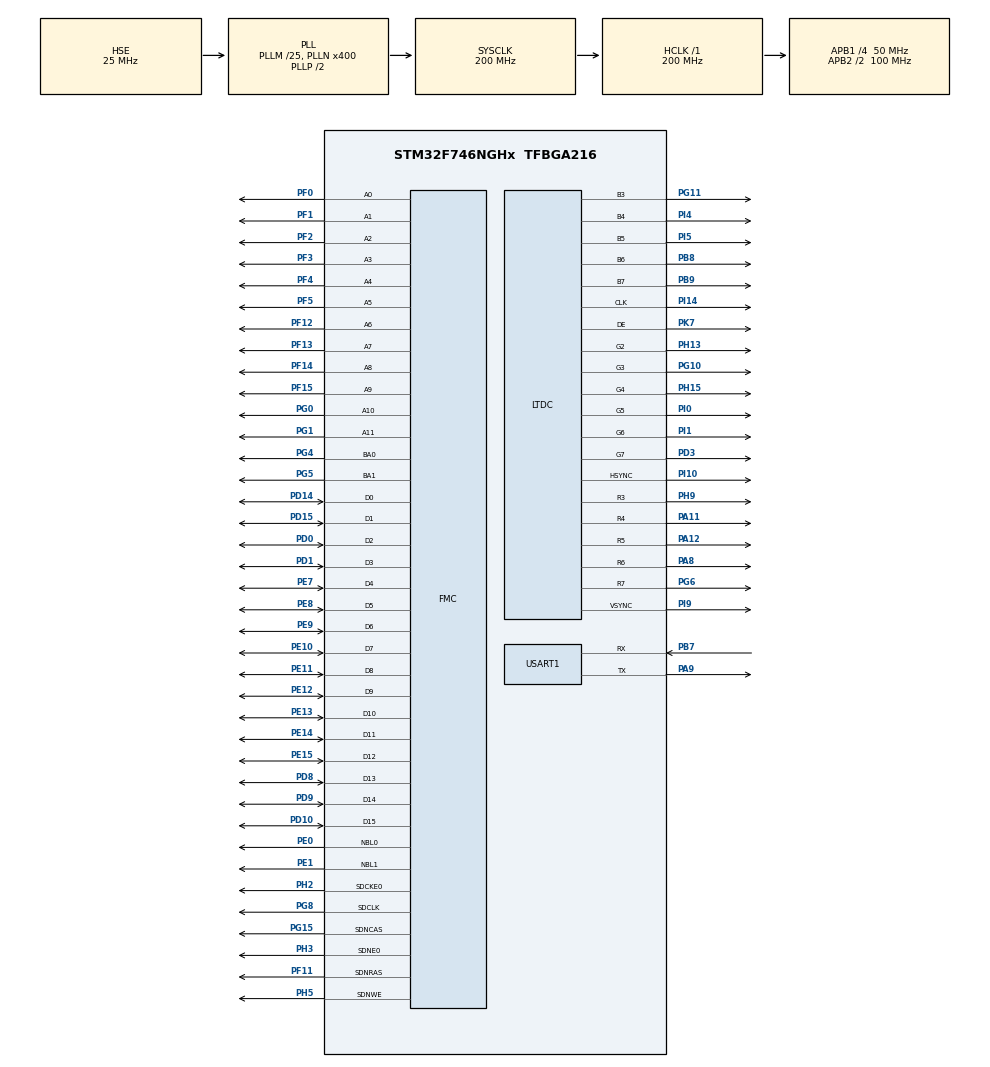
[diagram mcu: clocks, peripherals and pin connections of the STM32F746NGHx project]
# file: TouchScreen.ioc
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DMA2D.ColorMode=DMA2D_OUTPUT_RGB565
LTDC.Layers=0
Mcu.Family=STM32F7
Mcu.Name=STM32F746NGHx
Mcu.Package=TFBGA216
NVIC.LTDC_IRQn=true\:0\:0\:false\:false\:true\:true\:true\:true
NVIC.PriorityGroup=NVIC_PRIORITYGROUP_4
PA11.Mode=RGB565
PA11.Signal=LTDC_R4
PA12.Mode=RGB565
PA12.Signal=LTDC_R5
PA13.Mode=Serial_Wire
PA13.Signal=SYS_JTMS-SWDIO
PA14.Mode=Serial_Wire
PA14.Signal=SYS_JTCK-SWCLK
PA8.Mode=RGB565
PA8.Signal=LTDC_R6
PA9.Mode=Asynchronous
PA9.Signal=USART1_TX
PB7.Mode=Asynchronous
PB7.Signal=USART1_RX
PB8.Mode=RGB565
PB8.Signal=LTDC_B6
PB9.Mode=RGB565
PB9.Signal=LTDC_B7
PC14/OSC32_IN.Mode=LSE-External-Oscillator
PC14/OSC32_IN.Signal=RCC_OSC32_IN
PC15/OSC32_OUT.Mode=LSE-External-Oscillator
PC15/OSC32_OUT.Signal=RCC_OSC32_OUT
PD0.Signal=FMC_D2_DA2
PD1.Signal=FMC_D3_DA3
PD10.Signal=FMC_D15_DA15
PD14.Signal=FMC_D0_DA0
PD15.Signal=FMC_D1_DA1
PD3.Mode=RGB565
PD3.Signal=LTDC_G7
PD8.Signal=FMC_D13_DA13
PD9.Signal=FMC_D14_DA14
PE0.Signal=FMC_NBL0
PE1.Signal=FMC_NBL1
PE10.Signal=FMC_D7_DA7
PE11.Signal=FMC_D8_DA8
PE12.Signal=FMC_D9_DA9
PE13.Signal=FMC_D10_DA10
PE14.Signal=FMC_D11_DA11
PE15.Signal=FMC_D12_DA12
PE7.Signal=FMC_D4_DA4
PE8.Signal=FMC_D5_DA5
PE9.Signal=FMC_D6_DA6
PF0.Signal=FMC_A0
PF1.Signal=FMC_A1
PF11.Signal=FMC_SDNRAS
PF12.Signal=FMC_A6
PF13.Signal=FMC_A7
PF14.Signal=FMC_A8
PF15.Signal=FMC_A9
PF2.Signal=FMC_A2
PF3.Signal=FMC_A3
PF4.Signal=FMC_A4
PF5.Signal=FMC_A5
PG0.Signal=FMC_A10
PG1.Signal=FMC_A11
PG10.Mode=RGB565
PG10.Signal=LTDC_G3
PG11.Mode=RGB565
PG11.Signal=LTDC_B3
PG15.Signal=FMC_SDNCAS
PG4.Signal=FMC_A14_BA0
PG5.Signal=FMC_A15_BA1
PG6.Mode=RGB565
PG6.Signal=LTDC_R7
PG8.Signal=FMC_SDCLK
PH0/OSC_IN.Mode=HSE-External-Oscillator
PH0/OSC_IN.Signal=RCC_OSC_IN
PH1/OSC_OUT.Mode=HSE-External-Oscillator
PH1/OSC_OUT.Signal=RCC_OSC_OUT
PH13.Mode=RGB565
PH13.Signal=LTDC_G2
PH15.Mode=RGB565
PH15.Signal=LTDC_G4
PH2.Mode=SdramChipSelect1_1
PH2.Signal=FMC_SDCKE0
PH3.Mode=SdramChipSelect1_1
PH3.Signal=FMC_SDNE0
PH5.Signal=FMC_SDNWE
PH9.Mode=RGB565
PH9.Signal=LTDC_R3
PI0.Mode=RGB565
PI0.Signal=LTDC_G5
PI1.Mode=RGB565
PI1.Signal=LTDC_G6
PI10.Mode=RGB565
PI10.Signal=LTDC_HSYNC
PI14.Mode=RGB565
PI14.Signal=LTDC_CLK
PI4.Mode=RGB565
PI4.Signal=LTDC_B4
PI5.Mode=RGB565
PI5.Signal=LTDC_B5
PI9.Mode=RGB565
PI9.Signal=LTDC_VSYNC
PK7.Mode=RGB565
PK7.Signal=LTDC_DE
ProjectManager.HeapSize=0x200
ProjectManager.StackSize=0x400
ProjectManager.TargetToolchain=CMake
RCC.AHBFreq_Value=200000000
RCC.APB1CLKDivider=RCC_HCLK_DIV4
RCC.APB1Freq_Value=50000000
RCC.APB1TimFreq_Value=100000000
RCC.APB2CLKDivider=RCC_HCLK_DIV2
RCC.APB2Freq_Value=100000000
RCC.APB2TimFreq_Value=200000000
RCC.CortexFreq_Value=200000000
RCC.HCLKFreq_Value=200000000
RCC.HSE_VALUE=25000000
RCC.HSI_VALUE=16000000
RCC.PLL48CLockSelection=RCC_CLK48SOURCE_PLLSAIP
RCC.PLLI2SN=100
RCC.PLLM=25
RCC.PLLN=400
RCC.PLLQ=9
RCC.PLLSAIN=384
RCC.PLLSAIP=RCC_PLLSAIP_DIV8
RCC.PLLSAIR=5
RCC.PLLSAIRDiv=RCC_PLLSAIDIVR_8
RCC.PLLSourceVirtual=RCC_PLLSOURCE_HSE
RCC.SDMMCClockSelection=RCC_SDMMC1CLKSOURCE_CLK48
RCC.SYSCLKFreq_VALUE=200000000
RCC.SYSCLKSource=RCC_SYSCLKSOURCE_PLLCLK
RCC.USBFreq_Value=48000000
RCC.VCOOutputFreq_Value=400000000
SH.FMC_A0.0=FMC_A0,12b-sda1
SH.FMC_A1.0=FMC_A1,12b-sda1
SH.FMC_A10.0=FMC_A10,12b-sda1
SH.FMC_A11.0=FMC_A11,12b-sda1
SH.FMC_A14_BA0.0=FMC_BA0,FourSdramBanks1
SH.FMC_A15_BA1.0=FMC_BA1,FourSdramBanks1
SH.FMC_A2.0=FMC_A2,12b-sda1
SH.FMC_A3.0=FMC_A3,12b-sda1
SH.FMC_A4.0=FMC_A4,12b-sda1
SH.FMC_A5.0=FMC_A5,12b-sda1
SH.FMC_A6.0=FMC_A6,12b-sda1
SH.FMC_A7.0=FMC_A7,12b-sda1
SH.FMC_A8.0=FMC_A8,12b-sda1
SH.FMC_A9.0=FMC_A9,12b-sda1
SH.FMC_D0_DA0.0=FMC_D0,sd-16b-d1
SH.FMC_D10_DA10.0=FMC_D10,sd-16b-d1
SH.FMC_D11_DA11.0=FMC_D11,sd-16b-d1
SH.FMC_D12_DA12.0=FMC_D12,sd-16b-d1
SH.FMC_D13_DA13.0=FMC_D13,sd-16b-d1
SH.FMC_D14_DA14.0=FMC_D14,sd-16b-d1
SH.FMC_D15_DA15.0=FMC_D15,sd-16b-d1
SH.FMC_D1_DA1.0=FMC_D1,sd-16b-d1
SH.FMC_D2_DA2.0=FMC_D2,sd-16b-d1
SH.FMC_D3_DA3.0=FMC_D3,sd-16b-d1
SH.FMC_D4_DA4.0=FMC_D4,sd-16b-d1
SH.FMC_D5_DA5.0=FMC_D5,sd-16b-d1
SH.FMC_D6_DA6.0=FMC_D6,sd-16b-d1
SH.FMC_D7_DA7.0=FMC_D7,sd-16b-d1
SH.FMC_D8_DA8.0=FMC_D8,sd-16b-d1
SH.FMC_D9_DA9.0=FMC_D9,sd-16b-d1
SH.FMC_NBL0.0=FMC_NBL0,Sd2ByteEnable1
SH.FMC_NBL1.0=FMC_NBL1,Sd2ByteEnable1
SH.FMC_SDCLK.0=FMC_SDCLK,12b-sda1
SH.FMC_SDNCAS.0=FMC_SDNCAS,12b-sda1
SH.FMC_SDNRAS.0=FMC_SDNRAS,12b-sda1
SH.FMC_SDNWE.0=FMC_SDNWE,12b-sda1
STMicroelectronics.X-CUBE-TOUCHGFX.4.24.0_IsPackSelfContextualization=true
USART1.VirtualMode-Asynchronous=VM_ASYNC
VP_DMA2D_VS_DMA2D.Mode=DMA2D_Activate
board=STM32F746G-DISCO

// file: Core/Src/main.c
/* USER CODE BEGIN Header */
/**
  ******************************************************************************
  * @file           : main.c
  * @brief          : Main program body
  ******************************************************************************
  * @attention
  *
  * Copyright (c) 2024 STMicroelectronics.
  * All rights reserved.
  *
  * This software is licensed under terms that can be found in the LICENSE file
  * in the root directory of this software component.
  * If no LICENSE file comes with this software, it is provided AS-IS.
  *
  ******************************************************************************
  */
/* USER CODE END Header */
#include "main.h"
#include "dma2d.h"
#include "ltdc.h"
#include "usart.h"
#include "gpio.h"
#include "fmc.h"

/* USER CODE BEGIN Includes */
#include <stdio.h>
#include "stm32746g_discovery_lcd.h"
#include "stm32746g_discovery_ts.h"
#include "ui.h"
/* USER CODE END Includes */

/* USER CODE BEGIN PD */
#define PUTCHAR_PROTOTYPE int __io_putchar(int ch)
/* USER CODE END PD */

void SystemClock_Config(void);

int main(void)
{

  /* MCU Configuration--------------------------------------------------------*/

  /* Reset of all peripherals, Initializes the Flash interface and the Systick. */
  HAL_Init();

  /* Configure the system clock */
  SystemClock_Config();

  /* Initialize all configured peripherals */
  MX_GPIO_Init();
  MX_LTDC_Init();
  MX_DMA2D_Init();
  MX_FMC_Init();
  MX_USART1_UART_Init();
  /* USER CODE BEGIN 2 */
  // BSP LCD Initialization
  BSP_LCD_Init();
  BSP_LCD_LayerDefaultInit(0, LCD_FB_START_ADDRESS);
  BSP_LCD_DisplayOn();
  // Layer 0
  BSP_LCD_SelectLayer(0);
  BSP_LCD_Clear(LCD_COLOR_BLACK);
  BSP_LCD_SetBackColor(LCD_COLOR_BLACK);
  BSP_LCD_SetTextColor(LCD_COLOR_WHITE);
  // Init Touch Screen
  BSP_TS_Init(BSP_LCD_GetXSize(), BSP_LCD_GetYSize());
  // Start
  BSP_LCD_SelectLayer(0);
  // Touch Screen
  Button button = {10, 20, 200, 80, LCD_COLOR_YELLOW};
  UI_Button_Show(&button);
  Slide slide = {10, 150, 400, 50, LCD_COLOR_WHITE, 50};
  UI_Slide_Show(&slide);
  /* USER CODE END 2 */

  /* Infinite loop */
  /* USER CODE BEGIN WHILE */
  TS_StateTypeDef tsState;
  while (1)
  {
    BSP_TS_GetState(&tsState);
    UI_Button_Detect(&button, &tsState);
    UI_Slide_Detect(&slide, &tsState);

    /* USER CODE END WHILE */

  }
}

void SystemClock_Config(void)
{
  RCC_OscInitTypeDef RCC_OscInitStruct = {0};
  RCC_ClkInitTypeDef RCC_ClkInitStruct = {0};

  /** Configure LSE Drive Capability
  */
  HAL_PWR_EnableBkUpAccess();

  /** Configure the main internal regulator output voltage
  */
  __HAL_RCC_PWR_CLK_ENABLE();
  __HAL_PWR_VOLTAGESCALING_CONFIG(PWR_REGULATOR_VOLTAGE_SCALE1);

  /** Initializes the RCC Oscillators according to the specified parameters
  * in the RCC_OscInitTypeDef structure.
  */
  RCC_OscInitStruct.OscillatorType = RCC_OSCILLATORTYPE_HSE;
  RCC_OscInitStruct.HSEState = RCC_HSE_ON;
  RCC_OscInitStruct.PLL.PLLState = RCC_PLL_ON;
  RCC_OscInitStruct.PLL.PLLSource = RCC_PLLSOURCE_HSE;
  RCC_OscInitStruct.PLL.PLLM = 25;
  RCC_OscInitStruct.PLL.PLLN = 400;
  RCC_OscInitStruct.PLL.PLLP = RCC_PLLP_DIV2;
  RCC_OscInitStruct.PLL.PLLQ = 9;
  if (HAL_RCC_OscConfig(&RCC_OscInitStruct) != HAL_OK)
  {
    Error_Handler();
  }

  /** Activate the Over-Drive mode
  */
  if (HAL_PWREx_EnableOverDrive() != HAL_OK)
  {
    Error_Handler();
  }

  /** Initializes the CPU, AHB and APB buses clocks
  */
  RCC_ClkInitStruct.ClockType = RCC_CLOCKTYPE_HCLK|RCC_CLOCKTYPE_SYSCLK
                              |RCC_CLOCKTYPE_PCLK1|RCC_CLOCKTYPE_PCLK2;
  RCC_ClkInitStruct.SYSCLKSource = RCC_SYSCLKSOURCE_PLLCLK;
  RCC_ClkInitStruct.AHBCLKDivider = RCC_SYSCLK_DIV1;
  RCC_ClkInitStruct.APB1CLKDivider = RCC_HCLK_DIV4;
  RCC_ClkInitStruct.APB2CLKDivider = RCC_HCLK_DIV2;

  if (HAL_RCC_ClockConfig(&RCC_ClkInitStruct, FLASH_LATENCY_6) != HAL_OK)
  {
    Error_Handler();
  }
}

/* USER CODE BEGIN 4 */
PUTCHAR_PROTOTYPE
{
  HAL_UART_Transmit(&huart1, (uint8_t *)&ch, 1, 0xFFFF);
  return ch;
}
/* USER CODE END 4 */

void Error_Handler(void)
{
  __disable_irq();
  while (1)
  {
  }
}
